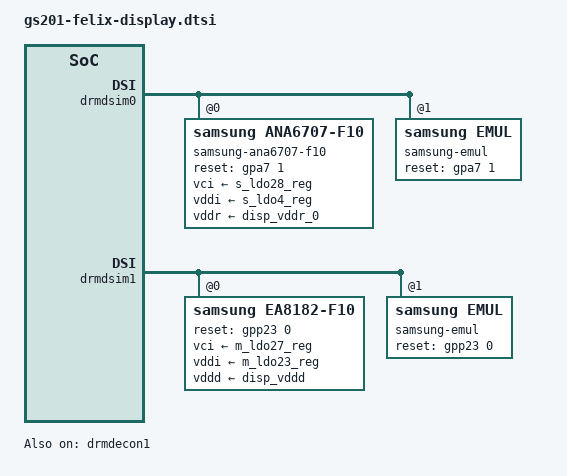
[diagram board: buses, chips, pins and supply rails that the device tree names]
// SPDX-License-Identifier: GPL-2.0-only
/*
 * Display nodes for slider-related boards.
 *
 * Copyright 2022 Google LLC
 *
 */

&drmdecon0 {
       max_dfs_lv_for_wb = <533000>;
};

&drmdecon1 {
       status = "ok";
};

&drmdsim0 {
	samsung_ana6707_f10: panel@0 {
		compatible = "samsung,ana6707-f10";
		label = "samsung-ana6707-f10";
		channel = <0>;
		/* 0: normal, 1: bottom up, 2: left up, 3: right up*/
		orientation = <2>;

		/* reset, power */
		reset-gpios = <&gpa7 1 GPIO_ACTIVE_HIGH>;
		vci-supply = <&s_ldo28_reg>;
		vddi-supply = <&s_ldo4_reg>;
		vddr-supply = <&disp_vddr_0>;
		touch = <&spitouch>;
	};
	panel@1 {
		compatible = "samsung,emul";
		label = "samsung-emul";
		channel = <0>;

		/* reset, power */
		reset-gpios = <&gpa7 1 GPIO_ACTIVE_HIGH>;
	};
};

&drmdsim1 {
	#address-cells = <1>;
	#size-cells = <0>;
	status = "okay";

	samsung_ea8182_f10: panel@0 {
		compatible = "samsung,ea8182-f10";
		label = "ea8182-f10";
		channel = <0>;

		/* reset, power */
		reset-gpios = <&gpp23 0 GPIO_ACTIVE_HIGH>;
		vci-supply = <&m_ldo27_reg>;
		vddi-supply = <&m_ldo23_reg>;
		vddd-supply = <&disp_vddd>;
		touch = <&spi6touch>;
	};
	panel@1 {
		compatible = "samsung,emul";
		label = "samsung-emul";
		channel = <0>;

		/* reset, power */
		reset-gpios = <&gpp23 0 GPIO_ACTIVE_HIGH>;
	};
};
